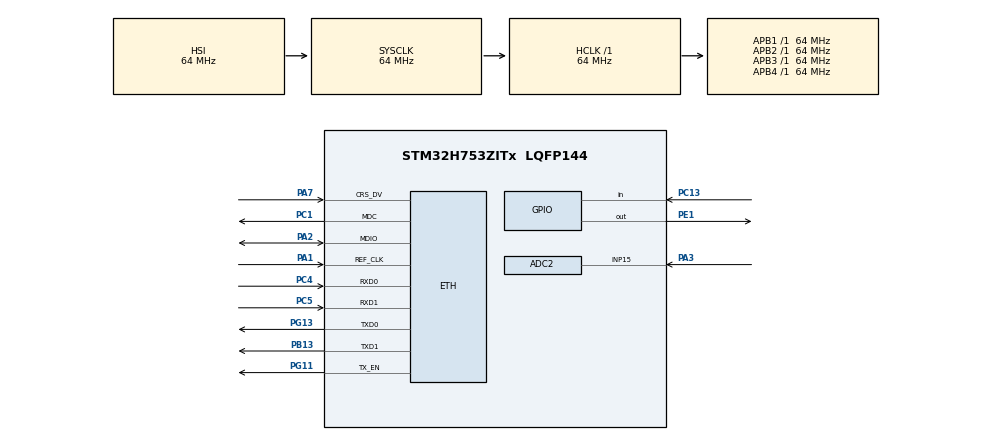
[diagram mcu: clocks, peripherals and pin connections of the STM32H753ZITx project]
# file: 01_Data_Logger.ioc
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ADC2.Channel-0\#ChannelRegularConversion=ADC_CHANNEL_15
ADC2.ClockPrescaler=ADC_CLOCK_SYNC_PCLK_DIV4
ADC2.ContinuousConvMode=DISABLE
ADC2.ConversionDataManagement=ADC_CONVERSIONDATA_DMA_CIRCULAR
ADC2.ExternalTrigConv=ADC_EXTERNALTRIG_T2_TRGO
ADC2.NbrOfConversionFlag=1
ADC2.OffsetNumber-0\#ChannelRegularConversion=ADC_OFFSET_NONE
ADC2.OffsetSignedSaturation-0\#ChannelRegularConversion=DISABLE
ADC2.Rank-0\#ChannelRegularConversion=1
ADC2.SamplingTime-0\#ChannelRegularConversion=ADC_SAMPLETIME_64CYCLES_5
CORTEX_M7.AccessPermission_Spec=MPU_REGION_FULL_ACCESS
CORTEX_M7.BaseAddress_Spec=0x30000000
CORTEX_M7.CPU_DCache=Disabled
CORTEX_M7.CPU_ICache=Disabled
CORTEX_M7.MPU_Control=MPU_PRIVILEGED_DEFAULT
CORTEX_M7.Size_Spec=MPU_REGION_SIZE_16KB
CORTEX_M7.default_mode_Activation=1
Dma.ADC2.0.Direction=DMA_PERIPH_TO_MEMORY
Dma.ADC2.0.EventEnable=DISABLE
Dma.ADC2.0.FIFOMode=DMA_FIFOMODE_DISABLE
Dma.ADC2.0.Instance=DMA1_Stream0
Dma.ADC2.0.MemDataAlignment=DMA_MDATAALIGN_HALFWORD
Dma.ADC2.0.MemInc=DMA_MINC_ENABLE
Dma.ADC2.0.Mode=DMA_CIRCULAR
Dma.ADC2.0.PeriphDataAlignment=DMA_PDATAALIGN_HALFWORD
Dma.ADC2.0.PeriphInc=DMA_PINC_DISABLE
Dma.ADC2.0.Polarity=HAL_DMAMUX_REQ_GEN_RISING
Dma.ADC2.0.Priority=DMA_PRIORITY_LOW
Dma.ADC2.0.RequestNumber=1
Dma.ADC2.0.SignalID=NONE
Dma.ADC2.0.SyncEnable=DISABLE
Dma.ADC2.0.SyncPolarity=HAL_DMAMUX_SYNC_NO_EVENT
Dma.ADC2.0.SyncRequestNumber=1
Dma.ADC2.0.SyncSignalID=NONE
Dma.Request0=ADC2
ETH.MACAddr=00\:80\:E1\:00\:00\:01
ETH.MediaInterface=HAL_ETH_RMII_MODE
LWIP.BSP.number=1
LWIP.GATEWAY_ADDRESS=192.168.031.001
LWIP.IP_ADDRESS=192.168.031.070
LWIP.LWIP_DHCP=0
LWIP.LWIP_TCP=1
LWIP.NETMASK_ADDRESS=255.255.255.000
LWIP.Version=v2.2.1_Cube
LWIP0.BSP.STBoard=false
LWIP0.BSP.api=BSP_COMPONENT_DRIVER
LWIP0.BSP.component=LAN8742
LWIP0.BSP.instance=LAN8742
LWIP0.BSP.name=Driver_PHY
LWIP0.BSP.semaphore=S_LAN8742
LWIP0.BSP.solution=LAN8742
Mcu.Family=STM32H7
Mcu.Name=STM32H753ZITx
Mcu.Package=LQFP144
NVIC.DMA1_Stream0_IRQn=true\:0\:0\:false\:false\:true\:false\:true\:true
NVIC.PriorityGroup=NVIC_PRIORITYGROUP_4
NVIC.TIM3_IRQn=true\:0\:0\:false\:false\:true\:true\:true\:true
PA1.Mode=RMII
PA1.Signal=ETH_REF_CLK
PA2.Mode=RMII
PA2.Signal=ETH_MDIO
PA3.Signal=ADCx_INP15
PA7.Mode=RMII
PA7.Signal=ETH_CRS_DV
PB13.Mode=RMII
PB13.Signal=ETH_TXD1
PC1.Mode=RMII
PC1.Signal=ETH_MDC
PC13.Signal=GPIO_Input
PC14-OSC32_IN\ (OSC32_IN).Signal=RCC_OSC32_IN
PC15-OSC32_OUT\ (OSC32_OUT).Signal=RCC_OSC32_OUT
PC4.Mode=RMII
PC4.Signal=ETH_RXD0
PC5.Mode=RMII
PC5.Signal=ETH_RXD1
PD8.GPIO_Label=STLINK_RX
PD8.Signal=USART3_TX
PD9.GPIO_Label=STLINK_TX
PD9.Signal=USART3_RX
PE1.Signal=GPIO_Output
PG11.Mode=RMII
PG11.Signal=ETH_TX_EN
PG13.Mode=RMII
PG13.Signal=ETH_TXD0
PH0-OSC_IN\ (PH0).Signal=RCC_OSC_IN
PH1-OSC_OUT\ (PH1).Signal=RCC_OSC_OUT
ProjectManager.HeapSize=0x1000
ProjectManager.StackSize=0x800
ProjectManager.TargetToolchain=STM32CubeIDE
RCC.ADCFreq_Value=75000000
RCC.APB1Freq_Value=64000000
RCC.APB2Freq_Value=64000000
RCC.APB3Freq_Value=64000000
RCC.APB4Freq_Value=64000000
RCC.CortexFreq_Value=64000000
RCC.DIVM1=1
RCC.DIVM2=4
RCC.DIVN1=24
RCC.DIVN2=9
RCC.DIVQ1=4
RCC.HCLKFreq_Value=64000000
RCC.HSE_VALUE=8000000
RCC.PLL2FRACN=3072
RCC.PLL3FRACN=0
RCC.PLLFRACN=0
RCC.PWR_Regulator_Voltage_Scale=PWR_REGULATOR_VOLTAGE_SCALE2
RCC.SYSCLKFreq_VALUE=64000000
RCC.USBFreq_Value=384000000
SH.ADCx_INP15.0=ADC2_INP15,IN15-Single-Ended
TIM2.AutoReloadPreload=TIM_AUTORELOAD_PRELOAD_ENABLE
TIM2.Period=4999
TIM2.Prescaler=6399
TIM2.TIM_MasterOutputTrigger=TIM_TRGO_UPDATE
TIM2.TIM_MasterSlaveMode=TIM_MASTERSLAVEMODE_ENABLE
TIM3.AutoReloadPreload=TIM_AUTORELOAD_PRELOAD_ENABLE
TIM3.Period=99
TIM3.Prescaler=6399
VP_LWIP_VS_Enabled.Mode=Enabled
VP_MEMORYMAP_VS_MEMORYMAP.Mode=CurAppReg
VP_TIM2_VS_ClockSourceINT.Mode=Internal
VP_TIM3_VS_ClockSourceINT.Mode=Internal
board=NUCLEO-H753ZI

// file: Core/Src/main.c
/* USER CODE BEGIN Header */
/**
  ******************************************************************************
  * @file           : main.c
  * @brief          : Main program body
  ******************************************************************************
  * @attention
  *
  * Copyright (c) 2026 STMicroelectronics.
  * All rights reserved.
  *
  * This software is licensed under terms that can be found in the LICENSE file
  * in the root directory of this software component.
  * If no LICENSE file comes with this software, it is provided AS-IS.
  *
  ******************************************************************************
  */
/* USER CODE END Header */
#include "main.h"
#include "lwip.h"

/* USER CODE BEGIN Includes */
#include "lwip/tcp.h"
#include <string.h>  // For memcpy
#include <stdlib.h>

/* USER CODE END Includes */

/* USER CODE BEGIN PTD */

#define START_VAL 0xAAAA
#define END_VAL   0xBB

typedef struct __attribute__((packed)) {
    // BLOCK 0 (10 Bytes)
    uint16_t start_marker;
    uint8_t  id_number;
    uint16_t serial_no;
    uint8_t  crc;
    uint32_t packed_time;

    // BLOCK 1 (4 Bytes)
    uint8_t  type;
    union {
        struct { uint16_t input_number; uint8_t status; } digital;
        struct { uint16_t channel_value; uint8_t channel_number; } analog;
    } data;

    // BLOCK 2 (2 Bytes)
    uint8_t  shift_checksum;
    uint8_t  end_marker;
} GenericPacket_t; // data packet structure

/* USER CODE END PTD */

/* USER CODE BEGIN PD */

#define MAX_RECORDS_PER_FRAME 20
#define RECORD_SIZE 16

#define ID_ANALOG  0x01 // id for analog records
#define ID_DIGITAL 0x00 // id for digital records

/* USER CODE END PD */

ADC_HandleTypeDef hadc2;
DMA_HandleTypeDef hdma_adc2;

TIM_HandleTypeDef htim2;
TIM_HandleTypeDef htim3;

/* USER CODE BEGIN PV */

typedef struct __attribute__((packed)) {
    GenericPacket_t records[MAX_RECORDS_PER_FRAME];
} BulkFrame_t;

float last_analog_voltage = -1.0f;
uint8_t digital_state = 0;
uint16_t last_digital_state = 0;
uint16_t last_sent_analog = 0;
uint32_t last_flush_tick = 0;
/* USER CODE END PV */

#define ANALOG_THRESHOLD 205

struct tcp_pcb *test_pcb; // structure to manage the connection
ip_addr_t DestIPaddr;     // variable to store your CPU's IP

volatile uint8_t analog_ready = 0; // flag
volatile uint8_t digital_ready = 0; // flag

__attribute__((section(".RAM_D2"))) uint16_t adc_buffer[1]; // Memory alignment for H7 DMA

BulkFrame_t bulkBuffer __attribute__((section(".LwipSection"), aligned(32)));

uint16_t global_serial = 0;

uint16_t record_count = 0;

uint16_t current_event_idx = 0;

/* USER CODE END PV */

void SystemClock_Config(void);
static void MPU_Config(void);
static void MX_GPIO_Init(void);
static void MX_DMA_Init(void);
static void MX_ADC2_Init(void);
static void MX_TIM2_Init(void);
static void MX_TIM3_Init(void);
/* USER CODE BEGIN PFP */

//err_t send_analog(struct tcp_pcb *tpcb, uint16_t analog_data);
//void send_analog_record(uint16_t val, uint8_t chan_num);
//void send_digital_record(uint16_t pin_num, uint8_t state);
//err_t send_digital(struct tcp_pcb *tpcb, uint8_t digital_data);

void send_digital_record(uint16_t pin_num, uint8_t state);
void send_analog_record(uint16_t val, uint8_t chan_num);
void flush_bulk_buffer(void);
uint8_t calculate_block0_crc(GenericPacket_t *p);
uint8_t calculate_shift_checksum(GenericPacket_t *p);

void Add_Event_To_Frame(uint8_t type, uint16_t id, uint16_t val);

/* USER CODE END PFP */

/* USER CODE BEGIN 0 */

void TCP_Client_Init(void) {
    test_pcb = tcp_new();

    if (test_pcb != NULL) {
        IP4_ADDR(&DestIPaddr, 192, 168, 31, 133);
        tcp_connect(test_pcb, &DestIPaddr, 5005, NULL);
    }
}

/* USER CODE END 0 */

int main(void)
{

  /* MPU Configuration--------------------------------------------------------*/
  MPU_Config();

//  /* Enable I-Cache */
//  SCB_EnableICache();
//
//  /* Enable D-Cache */
//  SCB_EnableDCache();

  /* MCU Configuration--------------------------------------------------------*/

  /* Reset of all peripherals, Initializes the Flash interface and the Systick. */
  HAL_Init();

  /* Configure the system clock */
  SystemClock_Config();

  /* Initialize all configured peripherals */
  MX_GPIO_Init();
  MX_DMA_Init();
  MX_ADC2_Init();
  MX_LWIP_Init();
  MX_TIM2_Init();
  MX_TIM3_Init();
  /* USER CODE BEGIN 2 */

  HAL_Delay(200);

  HAL_ADCEx_Calibration_Start(&hadc2, ADC_CALIB_OFFSET, ADC_SINGLE_ENDED);
  HAL_ADC_Start_DMA(&hadc2, (uint32_t*)adc_buffer, 1);
  HAL_Delay(200);
  HAL_TIM_Base_Start(&htim2); // TIM2 TRGO triggers ADC2

  HAL_TIM_Base_Start_IT(&htim3); // TIM3 IRQ triggers Callback

  /* USER CODE END 2 */

  /* Infinite loop */
  /* USER CODE BEGIN WHILE */

//  SCB_InvalidateDCache();

//  HAL_Delay(3000);
  TCP_Client_Init();

  while (1)
  {
	  MX_LWIP_Process();

    /* USER CODE END WHILE */

    /* USER CODE BEGIN 3 */

//	  if (digital_ready && test_pcb != NULL) {
//		  digital_ready = 0;
//		  if (digital_state!= last_digital_state){
//			  send_digital(test_pcb, digital_state);
//			  last_digital_state = digital_state;
//		  }
//
//	  }

//	  if (analog_ready && test_pcb != NULL) {
//		  analog_ready = 0;
//
//		  uint16_t current_analog = adc_buffer[0];
//
//
//		  uint16_t diff = (current_analog > last_analog_voltage) ?
//						  (current_analog - last_analog_voltage) :
//						  (last_analog_voltage - current_analog);
//
//		  if (diff > ANALOG_THRESHOLD) {
//			  send_analog(test_pcb, current_analog);
//			  last_analog_voltage = current_analog;
//		  }
//
//	  }

	  if (test_pcb != NULL && test_pcb->state == ESTABLISHED) {
		  if (digital_ready){
			  digital_ready = 0;
			  uint16_t current_dig = (uint16_t)__HAL_TIM_GET_COUNTER(&htim3);
			  if (current_dig != last_digital_state) {
				  send_digital_record(3, (uint8_t)current_dig); // Input ID 3
				  last_digital_state = current_dig;
			  }
		  }

		  if (analog_ready){
			  analog_ready=0;
			  uint16_t current_analog = adc_buffer[0];

			  uint16_t diff = (current_analog > last_analog_voltage) ?
							  (current_analog - last_analog_voltage) :
							  (last_analog_voltage - current_analog);

			  if (diff > ANALOG_THRESHOLD) {
				  send_analog_record(current_analog, 1);
				  last_analog_voltage = current_analog;
			  }
		  }

		  if (record_count > 0 && (HAL_GetTick() - last_flush_tick) > 50) {
		          flush_bulk_buffer();
		      }
	  } else{
		  TCP_Client_Init();
		  HAL_Delay(3000);
	  }

  }
  /* USER CODE END 3 */
}

void SystemClock_Config(void)
{
  RCC_OscInitTypeDef RCC_OscInitStruct = {0};
  RCC_ClkInitTypeDef RCC_ClkInitStruct = {0};

  /** Supply configuration update enable
  */
  HAL_PWREx_ConfigSupply(PWR_LDO_SUPPLY);

  /** Configure the main internal regulator output voltage
  */
  __HAL_PWR_VOLTAGESCALING_CONFIG(PWR_REGULATOR_VOLTAGE_SCALE2);

  while(!__HAL_PWR_GET_FLAG(PWR_FLAG_VOSRDY)) {}

  /** Initializes the RCC Oscillators according to the specified parameters
  * in the RCC_OscInitTypeDef structure.
  */
  RCC_OscInitStruct.OscillatorType = RCC_OSCILLATORTYPE_HSI;
  RCC_OscInitStruct.HSIState = RCC_HSI_DIV1;
  RCC_OscInitStruct.HSICalibrationValue = RCC_HSICALIBRATION_DEFAULT;
  RCC_OscInitStruct.PLL.PLLState = RCC_PLL_NONE;
  if (HAL_RCC_OscConfig(&RCC_OscInitStruct) != HAL_OK)
  {
    Error_Handler();
  }

  /** Initializes the CPU, AHB and APB buses clocks
  */
  RCC_ClkInitStruct.ClockType = RCC_CLOCKTYPE_HCLK|RCC_CLOCKTYPE_SYSCLK
                              |RCC_CLOCKTYPE_PCLK1|RCC_CLOCKTYPE_PCLK2
                              |RCC_CLOCKTYPE_D3PCLK1|RCC_CLOCKTYPE_D1PCLK1;
  RCC_ClkInitStruct.SYSCLKSource = RCC_SYSCLKSOURCE_HSI;
  RCC_ClkInitStruct.SYSCLKDivider = RCC_SYSCLK_DIV1;
  RCC_ClkInitStruct.AHBCLKDivider = RCC_HCLK_DIV1;
  RCC_ClkInitStruct.APB3CLKDivider = RCC_APB3_DIV1;
  RCC_ClkInitStruct.APB1CLKDivider = RCC_APB1_DIV1;
  RCC_ClkInitStruct.APB2CLKDivider = RCC_APB2_DIV1;
  RCC_ClkInitStruct.APB4CLKDivider = RCC_APB4_DIV1;

  if (HAL_RCC_ClockConfig(&RCC_ClkInitStruct, FLASH_LATENCY_1) != HAL_OK)
  {
    Error_Handler();
  }
}

static void MX_ADC2_Init(void)
{

  ADC_ChannelConfTypeDef sConfig = {0};

  /** Common config
  */
  hadc2.Instance = ADC2;
  hadc2.Init.ClockPrescaler = ADC_CLOCK_SYNC_PCLK_DIV4;
  hadc2.Init.Resolution = ADC_RESOLUTION_16B;
  hadc2.Init.ScanConvMode = ADC_SCAN_DISABLE;
  hadc2.Init.EOCSelection = ADC_EOC_SINGLE_CONV;
  hadc2.Init.LowPowerAutoWait = DISABLE;
  hadc2.Init.ContinuousConvMode = DISABLE;
  hadc2.Init.NbrOfConversion = 1;
  hadc2.Init.DiscontinuousConvMode = DISABLE;
  hadc2.Init.ExternalTrigConv = ADC_EXTERNALTRIG_T2_TRGO;
  hadc2.Init.ExternalTrigConvEdge = ADC_EXTERNALTRIGCONVEDGE_RISING;
  hadc2.Init.ConversionDataManagement = ADC_CONVERSIONDATA_DMA_CIRCULAR;
  hadc2.Init.Overrun = ADC_OVR_DATA_PRESERVED;
  hadc2.Init.LeftBitShift = ADC_LEFTBITSHIFT_NONE;
  hadc2.Init.OversamplingMode = DISABLE;
  hadc2.Init.Oversampling.Ratio = 1;
  if (HAL_ADC_Init(&hadc2) != HAL_OK)
  {
    Error_Handler();
  }

  /** Configure Regular Channel
  */
  sConfig.Channel = ADC_CHANNEL_15;
  sConfig.Rank = ADC_REGULAR_RANK_1;
  sConfig.SamplingTime = ADC_SAMPLETIME_64CYCLES_5;
  sConfig.SingleDiff = ADC_SINGLE_ENDED;
  sConfig.OffsetNumber = ADC_OFFSET_NONE;
  sConfig.Offset = 0;
  sConfig.OffsetSignedSaturation = DISABLE;
  if (HAL_ADC_ConfigChannel(&hadc2, &sConfig) != HAL_OK)
  {
    Error_Handler();
  }

}

static void MX_TIM2_Init(void)
{

  TIM_ClockConfigTypeDef sClockSourceConfig = {0};
  TIM_MasterConfigTypeDef sMasterConfig = {0};

  htim2.Instance = TIM2;
  htim2.Init.Prescaler = 6399;
  htim2.Init.CounterMode = TIM_COUNTERMODE_UP;
  htim2.Init.Period = 4999;
  htim2.Init.ClockDivision = TIM_CLOCKDIVISION_DIV1;
  htim2.Init.AutoReloadPreload = TIM_AUTORELOAD_PRELOAD_ENABLE;
  if (HAL_TIM_Base_Init(&htim2) != HAL_OK)
  {
    Error_Handler();
  }
  sClockSourceConfig.ClockSource = TIM_CLOCKSOURCE_INTERNAL;
  if (HAL_TIM_ConfigClockSource(&htim2, &sClockSourceConfig) != HAL_OK)
  {
    Error_Handler();
  }
  sMasterConfig.MasterOutputTrigger = TIM_TRGO_UPDATE;
  sMasterConfig.MasterSlaveMode = TIM_MASTERSLAVEMODE_ENABLE;
  if (HAL_TIMEx_MasterConfigSynchronization(&htim2, &sMasterConfig) != HAL_OK)
  {
    Error_Handler();
  }

}

static void MX_TIM3_Init(void)
{

  TIM_ClockConfigTypeDef sClockSourceConfig = {0};
  TIM_MasterConfigTypeDef sMasterConfig = {0};

  htim3.Instance = TIM3;
  htim3.Init.Prescaler = 6399;
  htim3.Init.CounterMode = TIM_COUNTERMODE_UP;
  htim3.Init.Period = 99;
  htim3.Init.ClockDivision = TIM_CLOCKDIVISION_DIV1;
  htim3.Init.AutoReloadPreload = TIM_AUTORELOAD_PRELOAD_ENABLE;
  if (HAL_TIM_Base_Init(&htim3) != HAL_OK)
  {
    Error_Handler();
  }
  sClockSourceConfig.ClockSource = TIM_CLOCKSOURCE_INTERNAL;
  if (HAL_TIM_ConfigClockSource(&htim3, &sClockSourceConfig) != HAL_OK)
  {
    Error_Handler();
  }
  sMasterConfig.MasterOutputTrigger = TIM_TRGO_RESET;
  sMasterConfig.MasterSlaveMode = TIM_MASTERSLAVEMODE_DISABLE;
  if (HAL_TIMEx_MasterConfigSynchronization(&htim3, &sMasterConfig) != HAL_OK)
  {
    Error_Handler();
  }

}

static void MX_DMA_Init(void)
{

  /* DMA controller clock enable */
  __HAL_RCC_DMA1_CLK_ENABLE();

  /* DMA interrupt init */
  /* DMA1_Stream0_IRQn interrupt configuration */
  HAL_NVIC_SetPriority(DMA1_Stream0_IRQn, 0, 0);
  HAL_NVIC_EnableIRQ(DMA1_Stream0_IRQn);

}

static void MX_GPIO_Init(void)
{
  GPIO_InitTypeDef GPIO_InitStruct = {0};

  /* GPIO Ports Clock Enable */
  __HAL_RCC_GPIOC_CLK_ENABLE();
  __HAL_RCC_GPIOH_CLK_ENABLE();
  __HAL_RCC_GPIOA_CLK_ENABLE();
  __HAL_RCC_GPIOB_CLK_ENABLE();
  __HAL_RCC_GPIOD_CLK_ENABLE();
  __HAL_RCC_GPIOG_CLK_ENABLE();
  __HAL_RCC_GPIOE_CLK_ENABLE();

  /*Configure GPIO pin Output Level */
  HAL_GPIO_WritePin(GPIOE, GPIO_PIN_1, GPIO_PIN_RESET);

  /*Configure GPIO pin : PC13 */
  GPIO_InitStruct.Pin = GPIO_PIN_13;
  GPIO_InitStruct.Mode = GPIO_MODE_INPUT;
  GPIO_InitStruct.Pull = GPIO_NOPULL;
  HAL_GPIO_Init(GPIOC, &GPIO_InitStruct);

  /*Configure GPIO pins : STLINK_RX_Pin STLINK_TX_Pin */
  GPIO_InitStruct.Pin = STLINK_RX_Pin|STLINK_TX_Pin;
  GPIO_InitStruct.Mode = GPIO_MODE_AF_PP;
  GPIO_InitStruct.Pull = GPIO_NOPULL;
  GPIO_InitStruct.Speed = GPIO_SPEED_FREQ_LOW;
  GPIO_InitStruct.Alternate = GPIO_AF7_USART3;
  HAL_GPIO_Init(GPIOD, &GPIO_InitStruct);

  /*Configure GPIO pin : PE1 */
  GPIO_InitStruct.Pin = GPIO_PIN_1;
  GPIO_InitStruct.Mode = GPIO_MODE_OUTPUT_PP;
  GPIO_InitStruct.Pull = GPIO_NOPULL;
  GPIO_InitStruct.Speed = GPIO_SPEED_FREQ_LOW;
  HAL_GPIO_Init(GPIOE, &GPIO_InitStruct);

}

/* USER CODE BEGIN 4 */

// Simple XOR-based CRC for Block 0
uint8_t calculate_block0_crc(GenericPacket_t *p) {
    uint8_t *ptr = (uint8_t*)p;
    uint8_t crc = 0;
    // Cover first 5 bytes (Start, ID, Serial) - skip CRC byte itself
    for(int i=0; i < 5; i++) crc ^= ptr[i];
    return crc;
}

// Shift Checksum: Sum of all bytes shifted by 1
uint8_t calculate_shift_checksum(GenericPacket_t *p) {
    uint8_t *ptr = (uint8_t*)p;
    uint32_t sum = 0;
    for(int i=0; i < 14; i++) { // Sum everything except Checksum and End
        sum += ptr[i];
    }
    return (uint8_t)((sum >> 1) & 0xFF);
}

void flush_bulk_buffer() {
    if (record_count == 0) return;

    if (test_pcb != NULL && test_pcb->state == ESTABLISHED) {
        uint16_t bytes_to_send = record_count * RECORD_SIZE;

        if (tcp_sndbuf(test_pcb) >= bytes_to_send) {
            tcp_write(test_pcb, &bulkBuffer, bytes_to_send, TCP_WRITE_FLAG_COPY);
            tcp_output(test_pcb);

            record_count = 0; // Empty the bucket
            last_flush_tick = HAL_GetTick();
        }
    }
}

void add_to_bulk_buffer(GenericPacket_t *new_record) {
    // Copy the record into the next available slot in the bucket
    memcpy(&bulkBuffer.records[record_count], new_record, RECORD_SIZE);
    record_count++;

    // If bucket is full, send immediately
    if (record_count >= MAX_RECORDS_PER_FRAME) {
        flush_bulk_buffer();
    }
}

void HAL_TIM_PeriodElapsedCallback(TIM_HandleTypeDef *htim) {
    if (htim->Instance == TIM3) {
        digital_state = HAL_GPIO_ReadPin(GPIOC, GPIO_PIN_13);
        __DMB();
        digital_ready = 1;
    }
}

void HAL_ADC_ConvCpltCallback(ADC_HandleTypeDef* hadc) {
    if (hadc->Instance == ADC2) {
    	__DMB();
        analog_ready = 1;
    }
}

void prepare_generic_header(GenericPacket_t *p) {
    p->start_marker = 0xAAAA;
    p->id_number = 1;
    p->serial_no = global_serial++;
    p->packed_time = HAL_GetTick();
    p->end_marker = 0xBB;
}

void send_digital_record(uint16_t pin_num, uint8_t state) {
    GenericPacket_t temp;
    prepare_generic_header(&temp);
    temp.type = 0x00;
    temp.data.digital.input_number = pin_num;
    temp.data.digital.status = state;

    // Add validation bytes
    temp.crc = calculate_block0_crc(&temp);
    temp.shift_checksum = calculate_shift_checksum(&temp);

    add_to_bulk_buffer(&temp);
}

void send_analog_record(uint16_t val, uint8_t chan_num) {
    GenericPacket_t temp;
    prepare_generic_header(&temp);
    temp.type = 0x01;
    temp.data.analog.channel_value = val;
    temp.data.analog.channel_number = chan_num;

    temp.crc = calculate_block0_crc(&temp);
    temp.shift_checksum = calculate_shift_checksum(&temp);

    add_to_bulk_buffer(&temp);
}

/* USER CODE END 4 */

 /* MPU Configuration */

void MPU_Config(void)
{
  MPU_Region_InitTypeDef MPU_InitStruct = {0};

  /* Disables the MPU */
  HAL_MPU_Disable();

  /** Initializes and configures the Region and the memory to be protected
  */
  MPU_InitStruct.Enable = MPU_REGION_ENABLE;
  MPU_InitStruct.Number = MPU_REGION_NUMBER0;
  MPU_InitStruct.BaseAddress = 0x30000000;
  MPU_InitStruct.Size = MPU_REGION_SIZE_16KB;
  MPU_InitStruct.SubRegionDisable = 0x87;
  MPU_InitStruct.TypeExtField = MPU_TEX_LEVEL0;
  MPU_InitStruct.AccessPermission = MPU_REGION_FULL_ACCESS;
  MPU_InitStruct.DisableExec = MPU_INSTRUCTION_ACCESS_DISABLE;
  MPU_InitStruct.IsShareable = MPU_ACCESS_SHAREABLE;
  MPU_InitStruct.IsCacheable = MPU_ACCESS_NOT_CACHEABLE;
  MPU_InitStruct.IsBufferable = MPU_ACCESS_NOT_BUFFERABLE;

  HAL_MPU_ConfigRegion(&MPU_InitStruct);
  /* Enables the MPU */
  HAL_MPU_Enable(MPU_PRIVILEGED_DEFAULT);

}

void Error_Handler(void)
{
  __disable_irq();
  while (1)
  {
  }
}
